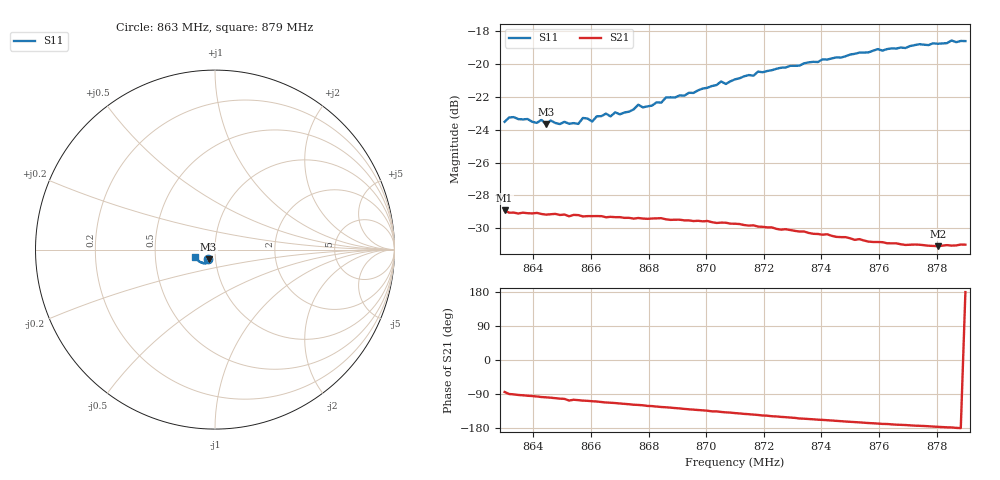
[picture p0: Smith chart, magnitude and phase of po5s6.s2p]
# HZ S RI R 50
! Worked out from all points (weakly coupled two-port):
!   101 points, 863 MHz to 879 MHz, reference 50 ohm
!   highest |S21| = -28.92 dB at 863 MHz (marker M1); lowest = -31.1 dB at 878.04 MHz (marker M2)
!   lowest |S11| = -23.7 dB at 864.44 MHz (marker M3), VSWR 1.14, Z = 46.2 - j5.07 ohm
!   |S11| at or under -10 dB: start of sweep to end of sweep
!   S12 and S22 are empty: the file has one direction only
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8.63e8  -0.0378 -0.0549  0.00352 -0.0356  0 0  0 0
8.6332e8  -0.0421 -0.0545  -0.000424 -0.0353  0 0  0 0
8.6412e8  -0.0377 -0.0544  -0.00384 -0.035  0 0  0 0
8.6428e8  -0.0364 -0.057  -0.00468 -0.0346  0 0  0 0
8.6444e8  -0.0362 -0.0546  -0.00516 -0.0344  0 0  0 0
8.646e8  -0.0369 -0.0563  -0.00573 -0.0344  0 0  0 0
8.6556e8  -0.0336 -0.0565  -0.00955 -0.0333  0 0  0 0
8.6572e8  -0.0341 -0.0594  -0.0102 -0.0328  0 0  0 0
8.6604e8  -0.0327 -0.0582  -0.0111 -0.0326  0 0  0 0
8.6652e8  -0.0336 -0.0621  -0.0129 -0.0316  0 0  0 0
8.6668e8  -0.0323 -0.0612  -0.0132 -0.0316  0 0  0 0
8.6732e8  -0.0338 -0.0631  -0.0153 -0.0304  0 0  0 0
8.6764e8  -0.035 -0.0665  -0.0162 -0.0298  0 0  0 0
8.678e8  -0.0348 -0.065  -0.0167 -0.0294  0 0  0 0
8.6844e8  -0.0357 -0.0674  -0.019 -0.0281  0 0  0 0
8.686e8  -0.0372 -0.0697  -0.0192 -0.0277  0 0  0 0
8.6924e8  -0.0394 -0.0697  -0.021 -0.026  0 0  0 0
8.71e8  -0.0495 -0.0749  -0.025 -0.0209  0 0  0 0
8.7372e8  -0.0681 -0.0753  -0.0279 -0.0121  0 0  0 0
8.7644e8  -0.093 -0.0615  -0.028 -0.00503  0 0  0 0
8.7804e8  -0.1041 -0.0492  -0.0278 -0.00174  0 0  0 0
8.79e8  -0.1107 -0.0391  -0.0282 0.000389  0 0  0 0
